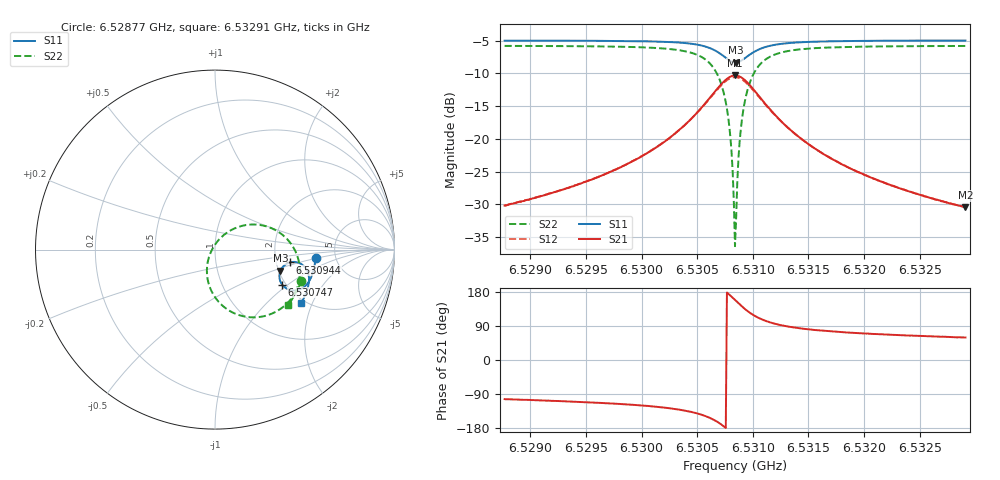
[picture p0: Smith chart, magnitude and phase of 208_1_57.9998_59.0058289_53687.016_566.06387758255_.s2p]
#  HZ  S  RI  R  50.00
! Rohde & Schwarz Vector Network Analyzer
! Rohde-Schwarz,ZNB20-2Port,1311601062101988,3.16
! Created: UTC 3/21/2024, 12:59:37 AM
! freq[Hz]  re:S11  im:S11  re:S21  im:S21  re:S12  im:S12  re:S22  im:S22
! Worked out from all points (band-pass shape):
!   401 points, 6.52877 GHz to 6.53291 GHz, reference 50 ohm
!   highest |S21| = -10.31 dB at 6.53084 GHz (marker M1); lowest = -30.4 dB at 6.53291 GHz (marker M2)
!   |S21| within 3 dB of the highest: 6.530633 GHz to 6.531048 GHz (414.6 kHz wide, 0.00635 % of centre)
!   lowest |S11| = -8.3 dB at 6.53085 GHz (marker M3), VSWR 2.24, Z = 102 - j28.3 ohm
!   |S11| at or under -10 dB: nowhere
!   |S22| runs from -36.4 to -5.8 dB; largest |S21 - S12| = 0.012
!   S11 on the Smith chart (normalised r, x): 6.52877 GHz: 3.49, -0.50; 6.530747 GHz: 1.91, -0.91; 6.530944 GHz: 2.37, -0.41; 6.53291 GHz: 1.91, -1.66
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6.5287697e9  0.5603 -0.0491  -0.00708 -0.0302  -0.00777 -0.03  0.4819 -0.1758
6.5294633e9  0.5512 -0.1071  -0.0165 -0.0429  -0.0174 -0.0425  0.4503 -0.2392
6.5301568e9  0.5242 -0.1764  -0.05 -0.0738  -0.052 -0.0724  0.368 -0.328
6.5303949e9  0.4978 -0.2069  -0.0895 -0.0931  -0.0923 -0.0901  0.2873 -0.3672
6.5305709e9  0.4545 -0.2269  -0.1572 -0.0998  -0.1596 -0.0932  0.1618 -0.3724
6.5306744e9  0.4097 -0.2223  -0.2265 -0.0734  -0.2257 -0.0639  0.0455 -0.3156
6.5307469e9  0.3745 -0.1955  -0.2776 -0.0152  -0.2719 -0.00527  -0.0294 -0.208
6.5307883e9  0.3613 -0.168  -0.2933 0.0375  -0.2846 0.0456  -0.0454 -0.1177
6.530809e9  0.3587 -0.1516  -0.294 0.0674  -0.284 0.0739  -0.0404 -0.0687
6.5308297e9  0.3598 -0.1347  -0.2888 0.0977  -0.2779 0.1023  -0.0258 -0.0202
6.5308401e9  0.3617 -0.1264  -0.2837 0.1123  -0.2728 0.1161  -0.0149 0.00296
6.5308504e9  0.3644 -0.1182  -0.2775 0.1266  -0.2665 0.1294  -0.00185 0.0249
6.5308608e9  0.3681 -0.1105  -0.2697 0.1401  -0.2587 0.1419  0.0133 0.0455
6.5308815e9  0.3776 -0.0966  -0.2508 0.164  -0.2405 0.1641  0.0488 0.0811
6.5308918e9  0.3831 -0.0906  -0.2399 0.1744  -0.2301 0.1735  0.0685 0.0956
6.5309125e9  0.3956 -0.0809  -0.2165 0.1909  -0.2079 0.189  0.11 0.1185
6.5309436e9  0.416 -0.0718  -0.1798 0.2063  -0.1729 0.2033  0.1734 0.137
6.531016e9  0.4587 -0.0711  -0.1049 0.2083  -0.1013 0.2053  0.2992 0.1254
6.5311196e9  0.4964 -0.0929  -0.0403 0.1775  -0.0385 0.176  0.403 0.0575
6.5315336e9  0.5238 -0.1722  0.0153 0.0858  0.0165 0.0855  0.4727 -0.1347
6.5322272e9  0.5062 -0.2439  0.0176 0.0413  0.0184 0.041  0.4434 -0.2502
6.5329104e9  0.4808 -0.2954  0.0153 0.0259  0.0159 0.0256  0.408 -0.31
